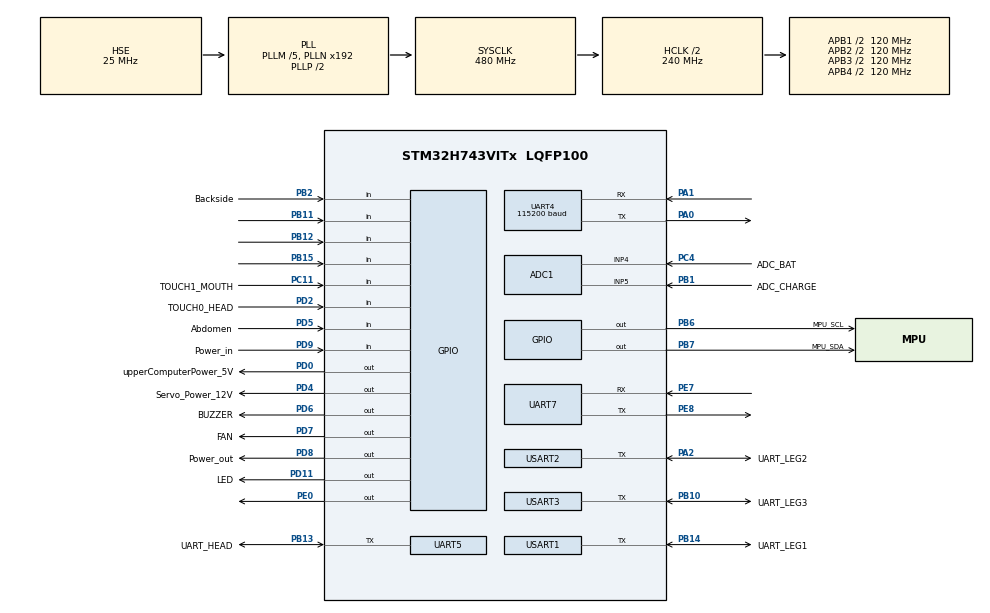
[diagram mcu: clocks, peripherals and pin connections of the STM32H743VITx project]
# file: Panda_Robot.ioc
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ADC1.Channel-0\#ChannelRegularConversion=ADC_CHANNEL_4
ADC1.Channel-1\#ChannelRegularConversion=ADC_CHANNEL_5
ADC1.ContinuousConvMode=ENABLE
ADC1.ConversionDataManagement=ADC_CONVERSIONDATA_DMA_CIRCULAR
ADC1.EOCSelection=ADC_EOC_SEQ_CONV
ADC1.NbrOfConversion=2
ADC1.NbrOfConversionFlag=1
ADC1.OffsetNumber-0\#ChannelRegularConversion=ADC_OFFSET_NONE
ADC1.OffsetNumber-1\#ChannelRegularConversion=ADC_OFFSET_NONE
ADC1.OffsetSignedSaturation-0\#ChannelRegularConversion=DISABLE
ADC1.OffsetSignedSaturation-1\#ChannelRegularConversion=DISABLE
ADC1.Rank-0\#ChannelRegularConversion=1
ADC1.Rank-1\#ChannelRegularConversion=2
ADC1.SamplingTime-0\#ChannelRegularConversion=ADC_SAMPLETIME_64CYCLES_5
ADC1.SamplingTime-1\#ChannelRegularConversion=ADC_SAMPLETIME_64CYCLES_5
ADC1.master=1
Dma.ADC1.12.Direction=DMA_PERIPH_TO_MEMORY
Dma.ADC1.12.EventEnable=DISABLE
Dma.ADC1.12.FIFOMode=DMA_FIFOMODE_DISABLE
Dma.ADC1.12.Instance=DMA2_Stream4
Dma.ADC1.12.MemDataAlignment=DMA_MDATAALIGN_HALFWORD
Dma.ADC1.12.MemInc=DMA_MINC_ENABLE
Dma.ADC1.12.Mode=DMA_CIRCULAR
Dma.ADC1.12.PeriphDataAlignment=DMA_PDATAALIGN_HALFWORD
Dma.ADC1.12.PeriphInc=DMA_PINC_DISABLE
Dma.ADC1.12.Polarity=HAL_DMAMUX_REQ_GEN_RISING
Dma.ADC1.12.Priority=DMA_PRIORITY_LOW
Dma.ADC1.12.RequestNumber=1
Dma.ADC1.12.SignalID=NONE
Dma.ADC1.12.SyncEnable=DISABLE
Dma.ADC1.12.SyncPolarity=HAL_DMAMUX_SYNC_NO_EVENT
Dma.ADC1.12.SyncRequestNumber=1
Dma.ADC1.12.SyncSignalID=NONE
Dma.Request0=USART3_RX
Dma.Request1=UART4_RX
Dma.Request10=UART5_RX
Dma.Request11=UART5_TX
Dma.Request12=ADC1
Dma.Request2=UART4_TX
Dma.Request3=USART1_RX
Dma.Request4=USART1_TX
Dma.Request5=USART3_TX
Dma.Request6=USART2_RX
Dma.Request7=USART2_TX
Dma.Request8=UART7_RX
Dma.Request9=UART7_TX
Dma.UART4_RX.1.Direction=DMA_PERIPH_TO_MEMORY
Dma.UART4_RX.1.EventEnable=DISABLE
Dma.UART4_RX.1.FIFOMode=DMA_FIFOMODE_DISABLE
Dma.UART4_RX.1.Instance=DMA1_Stream6
Dma.UART4_RX.1.MemDataAlignment=DMA_MDATAALIGN_BYTE
Dma.UART4_RX.1.MemInc=DMA_MINC_ENABLE
Dma.UART4_RX.1.Mode=DMA_NORMAL
Dma.UART4_RX.1.PeriphDataAlignment=DMA_PDATAALIGN_BYTE
Dma.UART4_RX.1.PeriphInc=DMA_PINC_DISABLE
Dma.UART4_RX.1.Polarity=HAL_DMAMUX_REQ_GEN_RISING
Dma.UART4_RX.1.Priority=DMA_PRIORITY_LOW
Dma.UART4_RX.1.RequestNumber=1
Dma.UART4_RX.1.SignalID=NONE
Dma.UART4_RX.1.SyncEnable=DISABLE
Dma.UART4_RX.1.SyncPolarity=HAL_DMAMUX_SYNC_NO_EVENT
Dma.UART4_RX.1.SyncRequestNumber=1
Dma.UART4_RX.1.SyncSignalID=NONE
Dma.UART4_TX.2.Direction=DMA_MEMORY_TO_PERIPH
Dma.UART4_TX.2.EventEnable=DISABLE
Dma.UART4_TX.2.FIFOMode=DMA_FIFOMODE_DISABLE
Dma.UART4_TX.2.Instance=DMA1_Stream7
Dma.UART4_TX.2.MemDataAlignment=DMA_MDATAALIGN_BYTE
Dma.UART4_TX.2.MemInc=DMA_MINC_ENABLE
Dma.UART4_TX.2.Mode=DMA_NORMAL
Dma.UART4_TX.2.PeriphDataAlignment=DMA_PDATAALIGN_BYTE
Dma.UART4_TX.2.PeriphInc=DMA_PINC_DISABLE
Dma.UART4_TX.2.Polarity=HAL_DMAMUX_REQ_GEN_RISING
Dma.UART4_TX.2.Priority=DMA_PRIORITY_LOW
Dma.UART4_TX.2.RequestNumber=1
Dma.UART4_TX.2.SignalID=NONE
Dma.UART4_TX.2.SyncEnable=DISABLE
Dma.UART4_TX.2.SyncPolarity=HAL_DMAMUX_SYNC_NO_EVENT
Dma.UART4_TX.2.SyncRequestNumber=1
Dma.UART4_TX.2.SyncSignalID=NONE
Dma.UART5_RX.10.Direction=DMA_PERIPH_TO_MEMORY
Dma.UART5_RX.10.EventEnable=DISABLE
Dma.UART5_RX.10.FIFOMode=DMA_FIFOMODE_DISABLE
Dma.UART5_RX.10.Instance=DMA2_Stream0
Dma.UART5_RX.10.MemDataAlignment=DMA_MDATAALIGN_BYTE
Dma.UART5_RX.10.MemInc=DMA_MINC_ENABLE
Dma.UART5_RX.10.Mode=DMA_NORMAL
Dma.UART5_RX.10.PeriphDataAlignment=DMA_PDATAALIGN_BYTE
Dma.UART5_RX.10.PeriphInc=DMA_PINC_DISABLE
Dma.UART5_RX.10.Polarity=HAL_DMAMUX_REQ_GEN_RISING
Dma.UART5_RX.10.Priority=DMA_PRIORITY_LOW
Dma.UART5_RX.10.RequestNumber=1
Dma.UART5_RX.10.SignalID=NONE
Dma.UART5_RX.10.SyncEnable=DISABLE
Dma.UART5_RX.10.SyncPolarity=HAL_DMAMUX_SYNC_NO_EVENT
Dma.UART5_RX.10.SyncRequestNumber=1
Dma.UART5_RX.10.SyncSignalID=NONE
Dma.UART5_TX.11.Direction=DMA_MEMORY_TO_PERIPH
Dma.UART5_TX.11.EventEnable=DISABLE
Dma.UART5_TX.11.FIFOMode=DMA_FIFOMODE_DISABLE
Dma.UART5_TX.11.Instance=DMA2_Stream1
Dma.UART5_TX.11.MemDataAlignment=DMA_MDATAALIGN_BYTE
Dma.UART5_TX.11.MemInc=DMA_MINC_ENABLE
Dma.UART5_TX.11.Mode=DMA_NORMAL
Dma.UART5_TX.11.PeriphDataAlignment=DMA_PDATAALIGN_BYTE
Dma.UART5_TX.11.PeriphInc=DMA_PINC_DISABLE
Dma.UART5_TX.11.Polarity=HAL_DMAMUX_REQ_GEN_RISING
Dma.UART5_TX.11.Priority=DMA_PRIORITY_LOW
Dma.UART5_TX.11.RequestNumber=1
Dma.UART5_TX.11.SignalID=NONE
Dma.UART5_TX.11.SyncEnable=DISABLE
Dma.UART5_TX.11.SyncPolarity=HAL_DMAMUX_SYNC_NO_EVENT
Dma.UART5_TX.11.SyncRequestNumber=1
Dma.UART5_TX.11.SyncSignalID=NONE
Dma.UART7_RX.8.Direction=DMA_PERIPH_TO_MEMORY
Dma.UART7_RX.8.EventEnable=DISABLE
Dma.UART7_RX.8.FIFOMode=DMA_FIFOMODE_DISABLE
Dma.UART7_RX.8.Instance=DMA2_Stream2
Dma.UART7_RX.8.MemDataAlignment=DMA_MDATAALIGN_BYTE
Dma.UART7_RX.8.MemInc=DMA_MINC_ENABLE
Dma.UART7_RX.8.Mode=DMA_CIRCULAR
Dma.UART7_RX.8.PeriphDataAlignment=DMA_PDATAALIGN_BYTE
Dma.UART7_RX.8.PeriphInc=DMA_PINC_DISABLE
Dma.UART7_RX.8.Polarity=HAL_DMAMUX_REQ_GEN_RISING
Dma.UART7_RX.8.Priority=DMA_PRIORITY_LOW
Dma.UART7_RX.8.RequestNumber=1
Dma.UART7_RX.8.SignalID=NONE
Dma.UART7_RX.8.SyncEnable=DISABLE
Dma.UART7_RX.8.SyncPolarity=HAL_DMAMUX_SYNC_NO_EVENT
Dma.UART7_RX.8.SyncRequestNumber=1
Dma.UART7_RX.8.SyncSignalID=NONE
Dma.UART7_TX.9.Direction=DMA_MEMORY_TO_PERIPH
Dma.UART7_TX.9.EventEnable=DISABLE
Dma.UART7_TX.9.FIFOMode=DMA_FIFOMODE_DISABLE
Dma.UART7_TX.9.Instance=DMA2_Stream3
Dma.UART7_TX.9.MemDataAlignment=DMA_MDATAALIGN_BYTE
Dma.UART7_TX.9.MemInc=DMA_MINC_ENABLE
Dma.UART7_TX.9.Mode=DMA_NORMAL
Dma.UART7_TX.9.PeriphDataAlignment=DMA_PDATAALIGN_BYTE
Dma.UART7_TX.9.PeriphInc=DMA_PINC_DISABLE
Dma.UART7_TX.9.Polarity=HAL_DMAMUX_REQ_GEN_RISING
Dma.UART7_TX.9.Priority=DMA_PRIORITY_LOW
Dma.UART7_TX.9.RequestNumber=1
Dma.UART7_TX.9.SignalID=NONE
Dma.UART7_TX.9.SyncEnable=DISABLE
Dma.UART7_TX.9.SyncPolarity=HAL_DMAMUX_SYNC_NO_EVENT
Dma.UART7_TX.9.SyncRequestNumber=1
Dma.UART7_TX.9.SyncSignalID=NONE
Dma.USART1_RX.3.Direction=DMA_PERIPH_TO_MEMORY
Dma.USART1_RX.3.EventEnable=DISABLE
Dma.USART1_RX.3.FIFOMode=DMA_FIFOMODE_DISABLE
Dma.USART1_RX.3.Instance=DMA1_Stream0
Dma.USART1_RX.3.MemDataAlignment=DMA_MDATAALIGN_BYTE
Dma.USART1_RX.3.MemInc=DMA_MINC_ENABLE
Dma.USART1_RX.3.Mode=DMA_CIRCULAR
Dma.USART1_RX.3.PeriphDataAlignment=DMA_PDATAALIGN_BYTE
Dma.USART1_RX.3.PeriphInc=DMA_PINC_DISABLE
Dma.USART1_RX.3.Polarity=HAL_DMAMUX_REQ_GEN_RISING
Dma.USART1_RX.3.Priority=DMA_PRIORITY_LOW
Dma.USART1_RX.3.RequestNumber=1
Dma.USART1_RX.3.SignalID=NONE
Dma.USART1_RX.3.SyncEnable=DISABLE
Dma.USART1_RX.3.SyncPolarity=HAL_DMAMUX_SYNC_NO_EVENT
Dma.USART1_RX.3.SyncRequestNumber=1
Dma.USART1_RX.3.SyncSignalID=NONE
Dma.USART1_TX.4.Direction=DMA_MEMORY_TO_PERIPH
Dma.USART1_TX.4.EventEnable=DISABLE
Dma.USART1_TX.4.FIFOMode=DMA_FIFOMODE_DISABLE
Dma.USART1_TX.4.Instance=DMA1_Stream1
Dma.USART1_TX.4.MemDataAlignment=DMA_MDATAALIGN_BYTE
Dma.USART1_TX.4.MemInc=DMA_MINC_ENABLE
Dma.USART1_TX.4.Mode=DMA_NORMAL
Dma.USART1_TX.4.PeriphDataAlignment=DMA_PDATAALIGN_BYTE
Dma.USART1_TX.4.PeriphInc=DMA_PINC_DISABLE
Dma.USART1_TX.4.Polarity=HAL_DMAMUX_REQ_GEN_RISING
Dma.USART1_TX.4.Priority=DMA_PRIORITY_LOW
Dma.USART1_TX.4.RequestNumber=1
Dma.USART1_TX.4.SignalID=NONE
Dma.USART1_TX.4.SyncEnable=DISABLE
Dma.USART1_TX.4.SyncPolarity=HAL_DMAMUX_SYNC_NO_EVENT
Dma.USART1_TX.4.SyncRequestNumber=1
Dma.USART1_TX.4.SyncSignalID=NONE
Dma.USART2_RX.6.Direction=DMA_PERIPH_TO_MEMORY
Dma.USART2_RX.6.EventEnable=DISABLE
Dma.USART2_RX.6.FIFOMode=DMA_FIFOMODE_DISABLE
Dma.USART2_RX.6.Instance=DMA1_Stream2
Dma.USART2_RX.6.MemDataAlignment=DMA_MDATAALIGN_BYTE
Dma.USART2_RX.6.MemInc=DMA_MINC_ENABLE
Dma.USART2_RX.6.Mode=DMA_CIRCULAR
Dma.USART2_RX.6.PeriphDataAlignment=DMA_PDATAALIGN_BYTE
Dma.USART2_RX.6.PeriphInc=DMA_PINC_DISABLE
Dma.USART2_RX.6.Polarity=HAL_DMAMUX_REQ_GEN_RISING
Dma.USART2_RX.6.Priority=DMA_PRIORITY_LOW
Dma.USART2_RX.6.RequestNumber=1
Dma.USART2_RX.6.SignalID=NONE
Dma.USART2_RX.6.SyncEnable=DISABLE
Dma.USART2_RX.6.SyncPolarity=HAL_DMAMUX_SYNC_NO_EVENT
Dma.USART2_RX.6.SyncRequestNumber=1
Dma.USART2_RX.6.SyncSignalID=NONE
Dma.USART2_TX.7.Direction=DMA_MEMORY_TO_PERIPH
Dma.USART2_TX.7.EventEnable=DISABLE
Dma.USART2_TX.7.FIFOMode=DMA_FIFOMODE_DISABLE
Dma.USART2_TX.7.Instance=DMA1_Stream3
Dma.USART2_TX.7.MemDataAlignment=DMA_MDATAALIGN_BYTE
Dma.USART2_TX.7.MemInc=DMA_MINC_ENABLE
Dma.USART2_TX.7.Mode=DMA_NORMAL
Dma.USART2_TX.7.PeriphDataAlignment=DMA_PDATAALIGN_BYTE
Dma.USART2_TX.7.PeriphInc=DMA_PINC_DISABLE
Dma.USART2_TX.7.Polarity=HAL_DMAMUX_REQ_GEN_RISING
Dma.USART2_TX.7.Priority=DMA_PRIORITY_LOW
Dma.USART2_TX.7.RequestNumber=1
Dma.USART2_TX.7.SignalID=NONE
Dma.USART2_TX.7.SyncEnable=DISABLE
Dma.USART2_TX.7.SyncPolarity=HAL_DMAMUX_SYNC_NO_EVENT
Dma.USART2_TX.7.SyncRequestNumber=1
Dma.USART2_TX.7.SyncSignalID=NONE
Dma.USART3_RX.0.Direction=DMA_PERIPH_TO_MEMORY
Dma.USART3_RX.0.EventEnable=DISABLE
Dma.USART3_RX.0.FIFOMode=DMA_FIFOMODE_DISABLE
Dma.USART3_RX.0.Instance=DMA1_Stream4
Dma.USART3_RX.0.MemDataAlignment=DMA_MDATAALIGN_BYTE
Dma.USART3_RX.0.MemInc=DMA_MINC_ENABLE
Dma.USART3_RX.0.Mode=DMA_CIRCULAR
Dma.USART3_RX.0.PeriphDataAlignment=DMA_PDATAALIGN_BYTE
Dma.USART3_RX.0.PeriphInc=DMA_PINC_DISABLE
Dma.USART3_RX.0.Polarity=HAL_DMAMUX_REQ_GEN_RISING
Dma.USART3_RX.0.Priority=DMA_PRIORITY_LOW
Dma.USART3_RX.0.RequestNumber=1
Dma.USART3_RX.0.SignalID=NONE
Dma.USART3_RX.0.SyncEnable=DISABLE
Dma.USART3_RX.0.SyncPolarity=HAL_DMAMUX_SYNC_NO_EVENT
Dma.USART3_RX.0.SyncRequestNumber=1
Dma.USART3_RX.0.SyncSignalID=NONE
Dma.USART3_TX.5.Direction=DMA_MEMORY_TO_PERIPH
Dma.USART3_TX.5.EventEnable=DISABLE
Dma.USART3_TX.5.FIFOMode=DMA_FIFOMODE_DISABLE
Dma.USART3_TX.5.Instance=DMA1_Stream5
Dma.USART3_TX.5.MemDataAlignment=DMA_MDATAALIGN_BYTE
Dma.USART3_TX.5.MemInc=DMA_MINC_ENABLE
Dma.USART3_TX.5.Mode=DMA_NORMAL
Dma.USART3_TX.5.PeriphDataAlignment=DMA_PDATAALIGN_BYTE
Dma.USART3_TX.5.PeriphInc=DMA_PINC_DISABLE
Dma.USART3_TX.5.Polarity=HAL_DMAMUX_REQ_GEN_RISING
Dma.USART3_TX.5.Priority=DMA_PRIORITY_LOW
Dma.USART3_TX.5.RequestNumber=1
Dma.USART3_TX.5.SignalID=NONE
Dma.USART3_TX.5.SyncEnable=DISABLE
Dma.USART3_TX.5.SyncPolarity=HAL_DMAMUX_SYNC_NO_EVENT
Dma.USART3_TX.5.SyncRequestNumber=1
Dma.USART3_TX.5.SyncSignalID=NONE
FREERTOS.Tasks01=defaultTask,0,128,StartDefaultTask,As weak,NULL,Dynamic,NULL,NULL;TaskLow,-2,128,StartTaskLow,As weak,NULL,Dynamic,NULL,NULL;TaskMid,0,2048,StartTaskMid,As weak,NULL,Dynamic,NULL,NULL;TaskHigh,3,128,StartTaskHigh,As weak,NULL,Dynamic,NULL,NULL;myTask05,-2,128,StartTask05,As weak,NULL,Dynamic,NULL,NULL
Mcu.Family=STM32H7
Mcu.Name=STM32H743VITx
Mcu.Package=LQFP100
NVIC.DMA1_Stream0_IRQn=true\:5\:0\:false\:false\:true\:false\:false\:true\:true
NVIC.DMA1_Stream1_IRQn=true\:5\:0\:false\:false\:true\:true\:false\:true\:true
NVIC.DMA1_Stream2_IRQn=true\:5\:0\:false\:false\:true\:true\:false\:true\:true
NVIC.DMA1_Stream3_IRQn=true\:5\:0\:false\:false\:true\:true\:false\:true\:true
NVIC.DMA1_Stream4_IRQn=true\:5\:0\:false\:false\:true\:true\:false\:true\:true
NVIC.DMA1_Stream5_IRQn=true\:5\:0\:false\:false\:true\:false\:false\:true\:true
NVIC.DMA1_Stream6_IRQn=true\:5\:0\:false\:false\:true\:true\:false\:true\:true
NVIC.DMA1_Stream7_IRQn=true\:5\:0\:false\:false\:true\:true\:false\:true\:true
NVIC.DMA2_Stream0_IRQn=true\:5\:0\:false\:false\:true\:true\:false\:true\:true
NVIC.DMA2_Stream1_IRQn=true\:5\:0\:false\:false\:true\:true\:false\:true\:true
NVIC.DMA2_Stream2_IRQn=true\:5\:0\:false\:false\:true\:true\:false\:true\:true
NVIC.DMA2_Stream3_IRQn=true\:5\:0\:false\:false\:true\:true\:false\:true\:true
NVIC.DMA2_Stream4_IRQn=true\:5\:0\:false\:false\:true\:true\:false\:true\:true
NVIC.PriorityGroup=NVIC_PRIORITYGROUP_4
NVIC.TIM17_IRQn=true\:15\:0\:false\:false\:true\:false\:false\:true\:true
NVIC.TIM3_IRQn=true\:5\:0\:false\:false\:true\:true\:true\:true\:true
NVIC.TIM4_IRQn=true\:5\:0\:true\:false\:true\:true\:true\:true\:true
NVIC.TIM6_DAC_IRQn=true\:5\:0\:true\:false\:true\:true\:true\:true\:true
NVIC.TIM7_IRQn=true\:5\:0\:false\:false\:true\:true\:true\:true\:true
NVIC.TIM8_UP_TIM13_IRQn=true\:5\:0\:false\:false\:true\:true\:true\:true\:true
NVIC.TimeBase=TIM17_IRQn
NVIC.TimeBaseIP=TIM17
NVIC.UART4_IRQn=true\:5\:0\:false\:false\:true\:true\:true\:true\:true
NVIC.UART5_IRQn=true\:5\:0\:false\:false\:true\:true\:true\:true\:true
NVIC.UART7_IRQn=true\:5\:0\:false\:false\:true\:true\:true\:true\:true
NVIC.USART1_IRQn=true\:5\:0\:false\:false\:true\:true\:true\:true\:true
NVIC.USART2_IRQn=true\:5\:0\:false\:false\:true\:true\:true\:true\:true
NVIC.USART3_IRQn=true\:5\:0\:false\:false\:true\:true\:true\:true\:true
PA0.GPIO_PuPd=GPIO_PULLUP
PA0.GPIO_Speed=GPIO_SPEED_FREQ_HIGH
PA0.Mode=Asynchronous
PA0.Signal=UART4_TX
PA1.GPIO_PuPd=GPIO_PULLUP
PA1.GPIO_Speed=GPIO_SPEED_FREQ_HIGH
PA1.Mode=Asynchronous
PA1.Signal=UART4_RX
PA13\ (JTMS/SWDIO).Mode=Serial_Wire
PA13\ (JTMS/SWDIO).Signal=DEBUG_JTMS-SWDIO
PA14\ (JTCK/SWCLK).Mode=Serial_Wire
PA14\ (JTCK/SWCLK).Signal=DEBUG_JTCK-SWCLK
PA2.GPIO_Label=UART_LEG2
PA2.GPIO_ModeDefaultOD=GPIO_MODE_AF_PP
PA2.GPIO_PuPd=GPIO_PULLUP
PA2.GPIO_Speed=GPIO_SPEED_FREQ_VERY_HIGH
PA2.Mode=Half_duplex(single_wire_mode)
PA2.Signal=USART2_TX
PB1.GPIO_Label=ADC_CHARGE
PB1.Signal=ADCx_INP5
PB10.GPIO_Label=UART_LEG3
PB10.GPIO_ModeDefaultOD=GPIO_MODE_AF_PP
PB10.GPIO_PuPd=GPIO_PULLUP
PB10.GPIO_Speed=GPIO_SPEED_FREQ_VERY_HIGH
PB10.Mode=Half_duplex(single_wire_mode)
PB10.Signal=USART3_TX
PB11.GPIO_Mode=GPIO_MODE_INPUT
PB11.GPIO_PuPd=GPIO_PULLUP
PB11.Signal=GPIO_Input
PB12.GPIO_PuPd=GPIO_PULLUP
PB12.Signal=GPIO_Input
PB13.GPIO_Label=UART_HEAD
PB13.GPIO_ModeDefaultOD=GPIO_MODE_AF_PP
PB13.GPIO_PuPd=GPIO_PULLUP
PB13.GPIO_Speed=GPIO_SPEED_FREQ_HIGH
PB13.Mode=Half_duplex(single_wire_mode)
PB13.Signal=UART5_TX
PB14.GPIO_Label=UART_LEG1
PB14.GPIO_ModeDefaultOD=GPIO_MODE_AF_PP
PB14.GPIO_PuPd=GPIO_PULLUP
PB14.GPIO_Speed=GPIO_SPEED_FREQ_VERY_HIGH
PB14.Mode=Half_duplex(single_wire_mode)
PB14.Signal=USART1_TX
PB15.GPIO_PuPd=GPIO_PULLUP
PB15.Signal=GPIO_Input
PB2.GPIO_Label=Backside
PB2.Signal=GPIO_Input
PB6.GPIO_Label=MPU_SCL
PB6.Signal=GPIO_Output
PB7.GPIO_Label=MPU_SDA
PB7.Signal=GPIO_Output
PC11.GPIO_Label=TOUCH1_MOUTH
PC11.GPIO_PuPd=GPIO_PULLUP
PC11.Signal=GPIO_Input
PC4.GPIO_Label=ADC_BAT
PC4.Signal=ADCx_INP4
PD0.GPIO_Label=upperComputerPower_5V
PD0.GPIO_PuPd=GPIO_PULLUP
PD0.Signal=GPIO_Output
PD11.GPIO_Label=LED
PD11.GPIO_PuPd=GPIO_PULLDOWN
PD11.Signal=GPIO_Output
PD2.GPIO_Label=TOUCH0_HEAD
PD2.GPIO_PuPd=GPIO_PULLUP
PD2.Signal=GPIO_Input
PD4.GPIO_Label=Servo_Power_12V
PD4.GPIO_PuPd=GPIO_PULLUP
PD4.GPIO_Speed=GPIO_SPEED_FREQ_HIGH
PD4.Signal=GPIO_Output
PD5.GPIO_Label=Abdomen
PD5.Signal=GPIO_Input
PD6.GPIO_Label=BUZZER
PD6.GPIO_PuPd=GPIO_PULLDOWN
PD6.Signal=GPIO_Output
PD7.GPIO_Label=FAN
PD7.GPIO_PuPd=GPIO_PULLUP
PD7.Signal=GPIO_Output
PD8.GPIO_Label=Power_out
PD8.GPIO_PuPd=GPIO_PULLUP
PD8.GPIO_Speed=GPIO_SPEED_FREQ_HIGH
PD8.Signal=GPIO_Output
PD9.GPIO_Label=Power_in
PD9.GPIO_PuPd=GPIO_PULLUP
PD9.Signal=GPIO_Input
PE0.GPIO_ModeDefaultOutputPP=GPIO_MODE_OUTPUT_OD
PE0.GPIO_PuPd=GPIO_PULLUP
PE0.GPIO_Speed=GPIO_SPEED_FREQ_VERY_HIGH
PE0.Signal=GPIO_Output
PE7.Mode=Asynchronous
PE7.Signal=UART7_RX
PE8.Mode=Asynchronous
PE8.Signal=UART7_TX
PH0-OSC_IN\ (PH0).Mode=HSE-External-Oscillator
PH0-OSC_IN\ (PH0).Signal=RCC_OSC_IN
PH1-OSC_OUT\ (PH1).Mode=HSE-External-Oscillator
PH1-OSC_OUT\ (PH1).Signal=RCC_OSC_OUT
ProjectManager.HeapSize=0x200
ProjectManager.StackSize=0x400
ProjectManager.TargetToolchain=MDK-ARM V5.32
RCC.ADCFreq_Value=12500000
RCC.APB1Freq_Value=120000000
RCC.APB2Freq_Value=120000000
RCC.APB3Freq_Value=120000000
RCC.APB4Freq_Value=120000000
RCC.CortexFreq_Value=480000000
RCC.D1PPRE=RCC_APB3_DIV2
RCC.D2PPRE1=RCC_APB1_DIV2
RCC.D2PPRE2=RCC_APB2_DIV2
RCC.D3PPRE=RCC_APB4_DIV2
RCC.DIVM1=5
RCC.DIVM2=2
RCC.DIVN1=192
RCC.DIVN2=12
RCC.DIVP2=12
RCC.HCLKFreq_Value=240000000
RCC.HPRE=RCC_HCLK_DIV2
RCC.PLL1_VCI_Range-AdvancedSettings=RCC_PLL1VCIRANGE_0
RCC.PLL1_VCO_SEL-AdvancedSettings=RCC_PLL1VCOMEDIUM
RCC.PLL2FRACN=0
RCC.PLL2_VCI_Range-AdvancedSettings=RCC_PLL2VCIRANGE_0
RCC.PLL3FRACN=0
RCC.PLLFRACN=0
RCC.PLLSourceVirtual=RCC_PLLSOURCE_HSE
RCC.SYSCLKFreq_VALUE=480000000
RCC.SYSCLKSource=RCC_SYSCLKSOURCE_PLLCLK
RCC.USBFreq_Value=480000000
SH.ADCx_INP4.0=ADC1_INP4,IN4-Single-Ended
SH.ADCx_INP5.0=ADC1_INP5,IN5-Single-Ended
TIM13.AutoReloadPreload=TIM_AUTORELOAD_PRELOAD_ENABLE
TIM13.Prescaler=3
TIM3.Period=1000-1
TIM3.Prescaler=240-1
TIM4.AutoReloadPreload=TIM_AUTORELOAD_PRELOAD_ENABLE
TIM4.Period=1000-1
TIM4.Prescaler=240-1
TIM6.AutoReloadPreload=TIM_AUTORELOAD_PRELOAD_ENABLE
TIM6.Period=20000-1
TIM6.Prescaler=2400-1
TIM7.AutoReloadPreload=TIM_AUTORELOAD_PRELOAD_ENABLE
TIM7.Prescaler=240-1
TIM8.AutoReloadPreload=TIM_AUTORELOAD_PRELOAD_ENABLE
TIM8.Prescaler=240-1
UART4.BaudRate=115200
UART5.BaudRate=500000
USART1.BaudRate=500000
USART1.FIFOMode=FIFOMODE_DISABLE
USART1.VirtualMode-Half_duplex(single_wire_mode)=VM_ASYNC
USART2.BaudRate=500000
USART2.VirtualMode-Half_duplex(single_wire_mode)=VM_ASYNC
USART3.BaudRate=500000
USART3.VirtualMode-Half_duplex(single_wire_mode)=VM_ASYNC
VP_FREERTOS_VS_CMSIS_V1.Mode=CMSIS_V1
VP_MEMORYMAP_VS_MEMORYMAP.Mode=CurAppReg
VP_SYS_VS_tim17.Mode=TIM17
VP_TIM13_VS_ClockSourceINT.Mode=Enable_Timer
VP_TIM3_VS_ClockSourceINT.Mode=Internal
VP_TIM4_VS_ClockSourceINT.Mode=Internal
VP_TIM6_VS_ClockSourceINT.Mode=Enable_Timer
VP_TIM7_VS_ClockSourceINT.Mode=Enable_Timer
VP_TIM8_VS_ClockSourceINT.Mode=Internal
board=custom

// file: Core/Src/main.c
/* USER CODE BEGIN Header */
/**
  ******************************************************************************
  * @file           : main.c
  * @brief          : Main program body
  ******************************************************************************
  * @attention
  *
  * Copyright (c) 2025 STMicroelectronics.
  * All rights reserved.
  *
  * This software is licensed under terms that can be found in the LICENSE file
  * in the root directory of this software component.
  * If no LICENSE file comes with this software, it is provided AS-IS.
  *
  ******************************************************************************
  */
/* USER CODE END Header */
#include "main.h"
#include "cmsis_os.h"
#include "adc.h"
#include "dma.h"
#include "tim.h"
#include "usart.h"
#include "gpio.h"

/* USER CODE BEGIN Includes */
#include "user_servo.h"
#include "Action_library.h"
#include "user_imu_i2c.h"
#include "user_communication.h"
#include "user_adc.h"
#include <time.h>
#include "stdlib.h"
#include "user_IAP.h"
#include "user_flash.h"

/* USER CODE END Includes */

void SystemClock_Config(void);
void MX_FREERTOS_Init(void);

/* USER CODE BEGIN 0 */
uint8_t usart_tx_buf[13] = {0};
uint8_t POWERON = 0;
uint8_t SHUTDOWN = 0;
int cococo = 0;
uint32_t t = 10000000;
extern uint8_t poseNow;
extern buzzerType buzzerWorking;
extern uint8_t rgbTimes;
extern uint8_t buzzerTimes;
uint32_t debugFlag;
uint8_t debugUse;
/* USER CODE END 0 */

int main(void)
{

  /* MCU Configuration--------------------------------------------------------*/

  /* Reset of all peripherals, Initializes the Flash interface and the Systick. */
  HAL_Init();

  /* Configure the system clock */
  SystemClock_Config();

  /* USER CODE BEGIN SysInit */
	__enable_irq();
	__set_FAULTMASK(0);
	SCB->VTOR = FLASH_BASE | 0x100000;
  /* USER CODE END SysInit */

  /* Initialize all configured peripherals */
  MX_GPIO_Init();
  MX_DMA_Init();
  MX_UART4_Init();
  MX_USART3_UART_Init();
  MX_UART5_Init();
  MX_TIM4_Init();
  MX_USART1_UART_Init();
  MX_TIM6_Init();
  MX_UART7_Init();
  MX_USART2_UART_Init();
  MX_TIM3_Init();
  MX_ADC1_Init();
  MX_TIM7_Init();
  MX_TIM8_Init();
  MX_TIM13_Init();
  /* USER CODE BEGIN 2 */
//  __use_no_semihosting();
//HAL_Delay(10);

//HAL_GPIO_WritePin(upperComputerPower_5V_GPIO_Port,upperComputerPower_5V_Pin,GPIO_PIN_RESET);//
//  HAL_GPIO_WritePin(Servo_Power_12V_GPIO_Port,Servo_Power_12V_Pin,GPIO_PIN_RESET);//舵机供电
//
  HAL_Delay(200);
	HAL_GPIO_WritePin(upperComputerPower_5V_GPIO_Port,upperComputerPower_5V_Pin,GPIO_PIN_SET);//
  HAL_GPIO_WritePin(Servo_Power_12V_GPIO_Port,Servo_Power_12V_Pin,GPIO_PIN_SET);//舵机供电
//  HAL_TIM_Base_Start(&htim17);

//	debugFlag = *(__IO uint32_t*)(0x080aff00);
//	debugUse = *(__IO uint8_t*)(0x080aff00);
//	while(debugUse < 1);
//	debugFlag--;
//	FLASH_Write(0x080Aff00,&debugFlag,8);

//  printf("APPAPP1!\r\n");
	HAL_TIM_Base_Start(&htim13);
	srand(__HAL_TIM_GET_COUNTER(&htim13));//随机数种子设置

	HAL_Delay(3000);

//

//  User_CommunicationInit(); // 通信协议初始化

//  if (HAL_GPIO_ReadPin(Power_in_GPIO_Port, Power_in_Pin) == GPIO_PIN_RESET)
//  {
//	  HAL_GPIO_WritePin(Power_out_GPIO_Port,Power_out_Pin,GPIO_PIN_SET);//板子供电
//	  POWERON = 1;
//  }
  //while(HAL_GPIO_ReadPin(Power_in_GPIO_Port, Power_in_Pin) != GPIO_PIN_SET);

//  srand((unsigned)time(NULL));
//  HAL_Delay(3000);//等待舵机上电
  //User_ServoInit();
  cococo = 1;
//	printf("STARTAPP1!\r\n");
  /* USER CODE END 2 */

  /* Call init function for freertos objects (in cmsis_os2.c) */
  MX_FREERTOS_Init();

  /* Start scheduler */
  osKernelStart();

  /* We should never get here as control is now taken by the scheduler */

  /* Infinite loop */
  while (1)
  {

    /* USER CODE BEGIN 3 */

	//FEETECH_ReadServoPos(cococo);
//	 Action_Teachmode();
//	 if (HAL_GPIO_ReadPin(Power_in_GPIO_Port, Power_in_Pin) == GPIO_PIN_RESET)
//	{
//		cococo++;
//		if(cococo > 5)
//			HAL_GPIO_WritePin(Power_out_GPIO_Port,Power_out_Pin,GPIO_PIN_RESET);//板子断电
//	}
//	else if(cococo>0)
//		cococo--;
//	  ledSet(ioState.led);
//	  HAL_Delay(1);
//	  buzzerSet(ioState.buzzer);HAL_Delay(1);
//	  fanSet(ioState.fan);
	  HAL_UART_Transmit(&huart7, (uint8_t*)"HELLO: this is APP2!\r\n", 23, 100);
	HAL_Delay(1000);
  }
  /* USER CODE END 3 */
}

void SystemClock_Config(void)
{
  RCC_OscInitTypeDef RCC_OscInitStruct = {0};
  RCC_ClkInitTypeDef RCC_ClkInitStruct = {0};

  /** Supply configuration update enable
  */
  HAL_PWREx_ConfigSupply(PWR_LDO_SUPPLY);

  /** Configure the main internal regulator output voltage
  */
  __HAL_PWR_VOLTAGESCALING_CONFIG(PWR_REGULATOR_VOLTAGE_SCALE1);

  while(!__HAL_PWR_GET_FLAG(PWR_FLAG_VOSRDY)) {}

  __HAL_RCC_SYSCFG_CLK_ENABLE();
  __HAL_PWR_VOLTAGESCALING_CONFIG(PWR_REGULATOR_VOLTAGE_SCALE0);

  while(!__HAL_PWR_GET_FLAG(PWR_FLAG_VOSRDY)) {}

  /** Initializes the RCC Oscillators according to the specified parameters
  * in the RCC_OscInitTypeDef structure.
  */
  RCC_OscInitStruct.OscillatorType = RCC_OSCILLATORTYPE_HSE;
  RCC_OscInitStruct.HSEState = RCC_HSE_ON;
  RCC_OscInitStruct.PLL.PLLState = RCC_PLL_ON;
  RCC_OscInitStruct.PLL.PLLSource = RCC_PLLSOURCE_HSE;
  RCC_OscInitStruct.PLL.PLLM = 5;
  RCC_OscInitStruct.PLL.PLLN = 192;
  RCC_OscInitStruct.PLL.PLLP = 2;
  RCC_OscInitStruct.PLL.PLLQ = 2;
  RCC_OscInitStruct.PLL.PLLR = 2;
  RCC_OscInitStruct.PLL.PLLRGE = RCC_PLL1VCIRANGE_2;
  RCC_OscInitStruct.PLL.PLLVCOSEL = RCC_PLL1VCOWIDE;
  RCC_OscInitStruct.PLL.PLLFRACN = 0;
  if (HAL_RCC_OscConfig(&RCC_OscInitStruct) != HAL_OK)
  {
    Error_Handler();
  }

  /** Initializes the CPU, AHB and APB buses clocks
  */
  RCC_ClkInitStruct.ClockType = RCC_CLOCKTYPE_HCLK|RCC_CLOCKTYPE_SYSCLK
                              |RCC_CLOCKTYPE_PCLK1|RCC_CLOCKTYPE_PCLK2
                              |RCC_CLOCKTYPE_D3PCLK1|RCC_CLOCKTYPE_D1PCLK1;
  RCC_ClkInitStruct.SYSCLKSource = RCC_SYSCLKSOURCE_PLLCLK;
  RCC_ClkInitStruct.SYSCLKDivider = RCC_SYSCLK_DIV1;
  RCC_ClkInitStruct.AHBCLKDivider = RCC_HCLK_DIV2;
  RCC_ClkInitStruct.APB3CLKDivider = RCC_APB3_DIV2;
  RCC_ClkInitStruct.APB1CLKDivider = RCC_APB1_DIV2;
  RCC_ClkInitStruct.APB2CLKDivider = RCC_APB2_DIV2;
  RCC_ClkInitStruct.APB4CLKDivider = RCC_APB4_DIV2;

  if (HAL_RCC_ClockConfig(&RCC_ClkInitStruct, FLASH_LATENCY_4) != HAL_OK)
  {
    Error_Handler();
  }
}

/* USER CODE BEGIN 4 */
uint16_t countTimerForMPU6050;
uint16_t countTimerForUser_ADC;
uint16_t countForSendSum;
uint16_t test_Flag_User;

extern uint8_t countForCharging;
extern uint8_t buzzerForcharging;
/* USER CODE END 4 */

void HAL_TIM_PeriodElapsedCallback(TIM_HandleTypeDef *htim)
{
  if (htim->Instance == TIM17) {
    HAL_IncTick();
  }
  /* USER CODE BEGIN Callback 1 */
  else if(htim->Instance == TIM3)
  {
	  static uint8_t countForTimerTouch = 0;
	countForTimerTouch++;
	if(countForTimerTouch == 100)
	{
		 Key_Downside_Record();
		/*触摸人体检测传感器数据上报*/
		if(touchTopofHead_Downside  || touchChin_Downside || humanDetectionAbdomen_Downside
			||touchTopofHead_Upside || touchChin_Upside   || humanDetectionAbdomen_Upside
			||touchBody_Upside 		|| touchBody_Downside || humanDetectionBackside_Downside
			|| humanDetectionBackside_Upside)
		{
			sendSensorActive(&ph,!touchTopofHead, !touchBody, !touchChin, humanDetectionAbdomen, humanDetectionBackside);
		}

		countForTimerTouch = 0;
	}

	/***********做动作控制动作时间的计时器**********/
		User_TimerActionIRQ();

		countTimerForUser_ADC++;
		if(countTimerForUser_ADC > 20)
		{
		/*电流和电压检测（综合检测：空闲时才更新电压/电量）*/
		User_AdcBatteryStatusUpdate();
			countTimerForUser_ADC = 0;
		}

		/*充电*/
		if(USER_ADC.bat_current > 2.6f)
		{
			countForCharging++;
		}
		else countForCharging = 0;
		if(countForCharging >= 10)
		{
			countForCharging = 10;
			USER_ADC.bat_charging = 1;
		}
		else
		{
			USER_ADC.bat_charging = 0;
			buzzerForcharging = 0;
		}

		/*充电检测上报*/
	static uint8_t countForTimerIOCharging = 0;
	countForTimerIOCharging++;
	if(countForTimerIOCharging == 100)
	{
		IOForChargingDownside();

		if(IOForCharging_Upside || IOForCharging_Downside)
		{
			test_Flag_User++;
			sendStateActive(&ph, stateRobot);
		}
		countForTimerIOCharging = 0;
	}

		/*低电压*/
		static uint16_t countForbuzzerColt = 0;
		static uint8_t startBuzzerForVolt = 0;
		countForbuzzerColt ++;
		if(countForbuzzerColt >= 100)
		{
			startBuzzerForVolt = 1;
			countForbuzzerColt = 100;
		}
		if(USER_ADC.bat_power < 8 && startBuzzerForVolt == 1)
		{
			buzzerWorking.buzzerForvoltage = 1;
			rgbTimes = 3;
			buzzerTimes = 2;
		}
		else
		{
			buzzerWorking.buzzerForvoltage = 0;
			rgbTimes = 0;
		}

  }

  /* USER CODE END Callback 1 */
}

void Error_Handler(void)
{
  __disable_irq();
  while (1)
  {
  }
}

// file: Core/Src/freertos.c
/* USER CODE BEGIN Header */
/**
  ******************************************************************************
  * File Name          : freertos.c
  * Description        : Code for freertos applications
  ******************************************************************************
  * @attention
  *
  * Copyright (c) 2025 STMicroelectronics.
  * All rights reserved.
  *
  * This software is licensed under terms that can be found in the LICENSE file
  * in the root directory of this software component.
  * If no LICENSE file comes with this software, it is provided AS-IS.
  *
  ******************************************************************************
  */
/* USER CODE END Header */

#include "FreeRTOS.h"
#include "task.h"
#include "main.h"
#include "cmsis_os.h"

osThreadId defaultTaskHandle;
osThreadId TaskLowHandle;
osThreadId TaskMidHandle;
osThreadId TaskHighHandle;
osThreadId myTask05Handle;

void StartDefaultTask(void const * argument);
void StartTaskLow(void const * argument);
void StartTaskMid(void const * argument);
void StartTaskHigh(void const * argument);
void StartTask05(void const * argument);

void MX_FREERTOS_Init(void); /* (MISRA C 2004 rule 8.1) */

/* GetIdleTaskMemory prototype (linked to static allocation support) */
void vApplicationGetIdleTaskMemory( StaticTask_t **ppxIdleTaskTCBBuffer, StackType_t **ppxIdleTaskStackBuffer, uint32_t *pulIdleTaskStackSize );

/* USER CODE BEGIN GET_IDLE_TASK_MEMORY */
static StaticTask_t xIdleTaskTCBBuffer;
static StackType_t xIdleStack[configMINIMAL_STACK_SIZE];

void vApplicationGetIdleTaskMemory( StaticTask_t **ppxIdleTaskTCBBuffer, StackType_t **ppxIdleTaskStackBuffer, uint32_t *pulIdleTaskStackSize )
{
  *ppxIdleTaskTCBBuffer = &xIdleTaskTCBBuffer;
  *ppxIdleTaskStackBuffer = &xIdleStack[0];
  *pulIdleTaskStackSize = configMINIMAL_STACK_SIZE;
  /* place for user code */
}
/* USER CODE END GET_IDLE_TASK_MEMORY */

void MX_FREERTOS_Init(void) {

  /* Create the thread(s) */
  /* definition and creation of defaultTask */
  osThreadDef(defaultTask, StartDefaultTask, osPriorityNormal, 0, 128);
  defaultTaskHandle = osThreadCreate(osThread(defaultTask), NULL);

  /* definition and creation of TaskLow */
  osThreadDef(TaskLow, StartTaskLow, osPriorityLow, 0, 128);
  TaskLowHandle = osThreadCreate(osThread(TaskLow), NULL);

  /* definition and creation of TaskMid */
  osThreadDef(TaskMid, StartTaskMid, osPriorityNormal, 0, 2048);
  TaskMidHandle = osThreadCreate(osThread(TaskMid), NULL);

  /* definition and creation of TaskHigh */
  osThreadDef(TaskHigh, StartTaskHigh, osPriorityRealtime, 0, 128);
  TaskHighHandle = osThreadCreate(osThread(TaskHigh), NULL);

  /* definition and creation of myTask05 */
  osThreadDef(myTask05, StartTask05, osPriorityLow, 0, 128);
  myTask05Handle = osThreadCreate(osThread(myTask05), NULL);

}

__weak void StartDefaultTask(void const * argument)
{
  for(;;)
  {
    osDelay(1);
  }
}

__weak void StartTaskLow(void const * argument)
{
  for(;;)
  {
    osDelay(1);
  }
}

__weak void StartTaskMid(void const * argument)
{
  for(;;)
  {
    osDelay(1);
  }
}

__weak void StartTaskHigh(void const * argument)
{
  for(;;)
  {
    osDelay(1);
  }
}

__weak void StartTask05(void const * argument)
{
  for(;;)
  {
    osDelay(1);
  }
}
